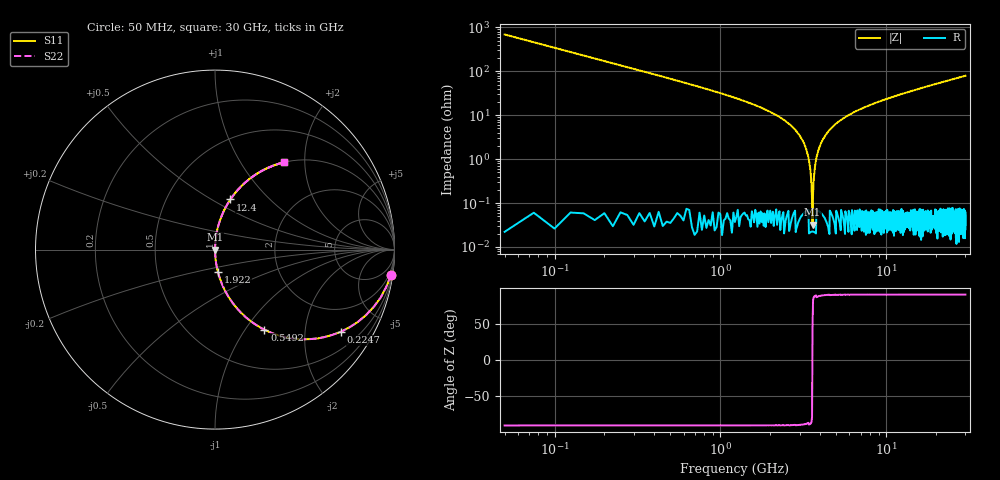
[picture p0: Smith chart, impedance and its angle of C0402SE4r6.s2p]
!	AVX Thin Film Operation 	Date: April 2014
!	Description: Accu-P® Series, Thin Film  SMD RF Capacitor
!	Part Number: 04025J4R6ABSTR
# MHZ S MA R 50
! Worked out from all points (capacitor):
!   1201 points, 50 MHz to 30 GHz, reference 50 ohm
!   read as one part in series: C = 4.6 pF near 199.8 MHz
!   lowest |Z| = 32.1 mohm at 3.594 GHz (marker M1)
!   series resonance near 3.59 GHz, so ESL is about 430 pH
!   S11 on the Smith chart (normalised r, x): 50 MHz: 1, -14; 224.7 MHz: 1.00, -3.07; 549.2 MHz: 1.00, -1.23; 1.922 GHz: 1.00, -0.26; 12.4 GHz: 1.00, +0.61; 30 GHz: 1.00, +1.59
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50  0.99 -8.2  0.143 81.8  0.143 81.8  0.99 -8.2
224.708  0.838 -33.1  0.546 56.9  0.546 56.9  0.838 -33.1
549.167  0.524 -58.4  0.851 31.6  0.851 31.6  0.524 -58.4
1023.375  0.297 -72.7  0.955 17.2  0.955 17.2  0.297 -72.7
1921.875  0.127 -82.5  0.991 7.3  0.991 7.3  0.127 -82.5
2670.625  0.058 -86.2  0.998 3.3  0.998 3.3  0.058 -86.2
3094.917  0.029 -87.5  0.999 1.6  0.999 1.6  0.029 -87.5
3294.583  0.017 -87.5  0.999 0.9  0.999 0.9  0.017 -87.5
3469.292  0.006594 -85.7  1 0.4  1 0.4  0.006594 -85.7
3594.083  0.0005061 27.2  1 -0.0  1 -0.0  0.0005061 27.2
3693.917  0.00553 85.0  1 -0.3  1 -0.3  0.00553 85.0
3868.625  0.014 87.4  0.999 -0.8  0.999 -0.8  0.014 87.4
4043.333  0.023 87.6  0.999 -1.3  0.999 -1.3  0.023 87.6
4442.667  0.041 87.0  0.999 -2.4  0.999 -2.4  0.041 87.0
5041.667  0.067 85.8  0.997 -3.8  0.997 -3.8  0.067 85.8
6988.417  0.137 82.0  0.99 -7.9  0.99 -7.9  0.137 82.0
10058.29  0.229 76.6  0.973 -13.3  0.973 -13.3  0.229 76.6
12404.38  0.292 73.0  0.956 -17.0  0.956 -17.0  0.292 73.0
15025  0.355 69.1  0.934 -20.8  0.934 -20.8  0.355 69.1
20016.67  0.461 62.5  0.887 -27.5  0.887 -27.5  0.461 62.5
25033.29  0.55 56.6  0.835 -33.3  0.835 -33.3  0.55 56.6
30000  0.622 51.5  0.783 -38.4  0.783 -38.4  0.622 51.5
